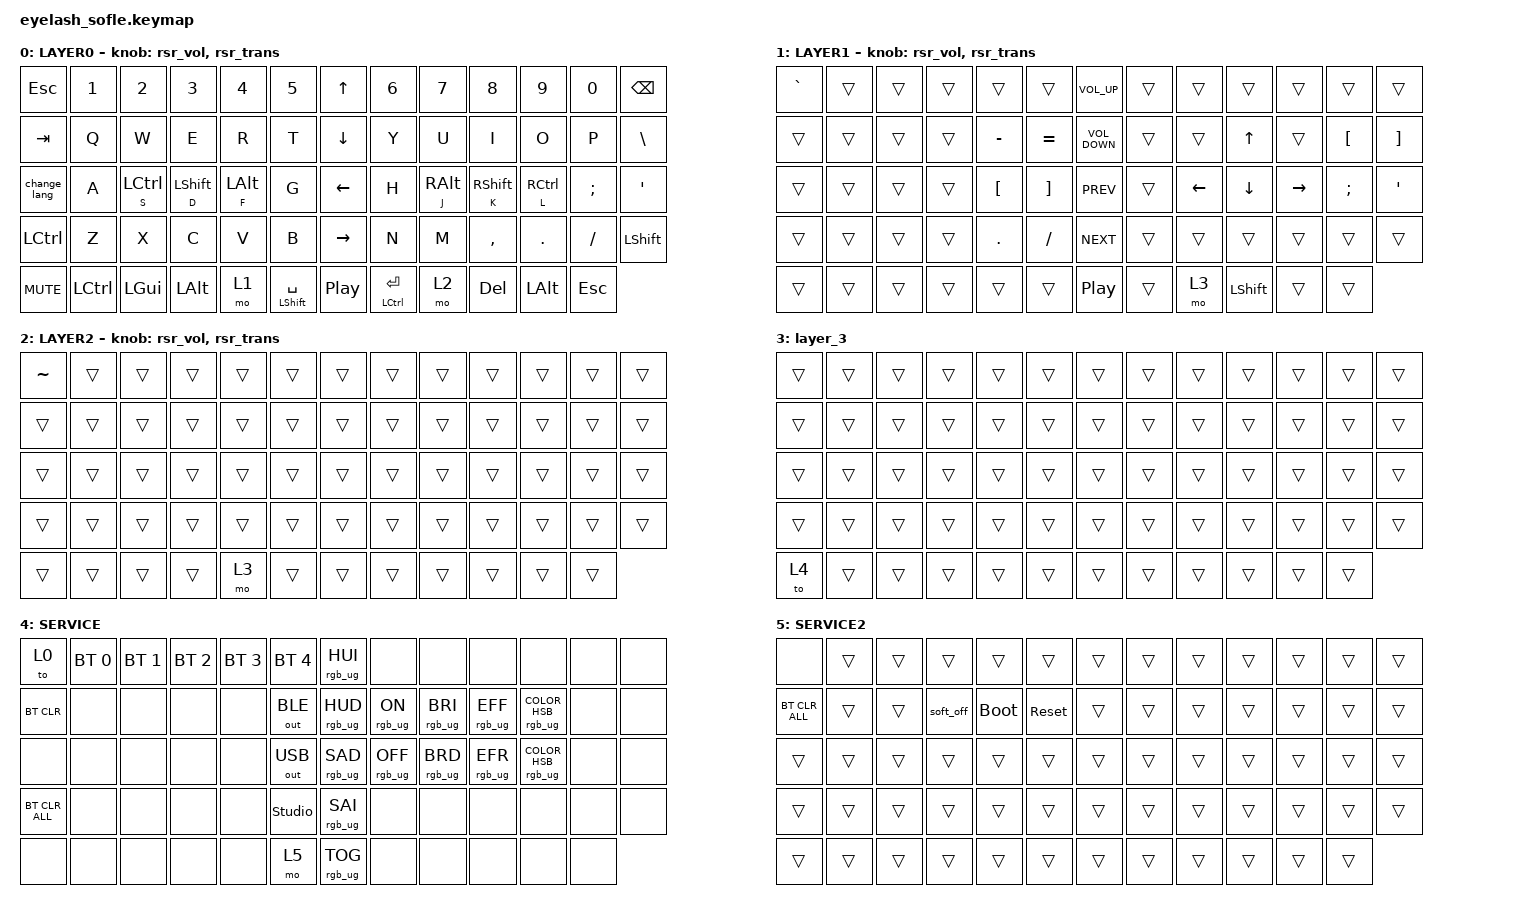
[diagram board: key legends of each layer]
#define ZMK_POINTING_DEFAULT_MOVE_VAL 1200  // 600
#define ZMK_POINTING_DEFAULT_SCRL_VAL 25   // 10

#include <input/processors.dtsi>
#include <zephyr/dt-bindings/input/input-event-codes.h>
#include <behaviors/runtime-sensor-rotate.dtsi>
#include <behaviors.dtsi>
#include <dt-bindings/zmk/bt.h>
#include <dt-bindings/zmk/keys.h>
#include <dt-bindings/zmk/outputs.h>
#include <dt-bindings/zmk/pointing.h>
#include <dt-bindings/zmk/rgb.h>

&mmv_input_listener { input-processors = <&zip_xy_scaler 2 1>; };

&msc_input_listener { input-processors = <&zip_scroll_scaler 2 1>; };

&msc {
    acceleration-exponent = <1>;      // 0
    time-to-max-speed-ms = <100>;       // 300
    delay-ms = <0>;                   // 0
};

&mmv {
    time-to-max-speed-ms = <500>;
    acceleration-exponent = <1>;
    trigger-period-ms = <16>;
};

&soft_off { hold-time-ms = <2000>; };

/ {
    scroll_encoder: scroll_encoder {
        compatible = "zmk,behavior-sensor-rotate";
        #sensor-binding-cells = <0>;
        bindings = <&msc SCRL_DOWN>, <&msc SCRL_UP>;

        tap-ms = <100>;
    };

    behaviors {
        rsr_vol: rsr_vol {
            compatible = "zmk,behavior-runtime-sensor-rotate";
            #sensor-binding-cells = <0>;
            tap-ms = <5>;
            cw-binding = <&kp C_VOL_UP>;
            ccw-binding = <&kp C_VOL_DN>;
        };

        rsr_trans: rsr_trans {
            compatible = "zmk,behavior-runtime-sensor-rotate";
            #sensor-binding-cells = <0>;
            tap-ms = <0>;
        };
    };

    combos {
        compatible = "zmk,combos";

        softoff {
            bindings = <&soft_off>;
            key-positions = <14 28 40>;
        };
    };

    macros {
        SHIFT_MCLK: SHIFT_MCLK {
            compatible = "zmk,behavior-macro";
            #binding-cells = <0>;
            bindings =
                <&macro_press>,
                <&kp LEFT_SHIFT>,
                <&macro_press>,
                <&mkp MB3>,
                <&macro_pause_for_release>,
                <&macro_release>,
                <&kp LEFT_SHIFT &mkp MB3>;

            label = "SHIFT_MCLK";
        };

        change_lang: change_layer {
            compatible = "zmk,behavior-macro";
            #binding-cells = <0>;
            bindings = <&kp LG(SPACE)>;
            label = "CHANGE_LAYER";
        };
    };

    keymap {
        compatible = "zmk,keymap";

        layer0 {
            bindings = <
&kp ESC       &kp N1     &kp N2        &kp N3            &kp N4          &kp N5                  &kp UP_ARROW      &kp N6           &kp N7           &kp N8             &kp N9        &kp N0      &kp BACKSPACE
&kp TAB       &kp Q      &kp W         &kp E             &kp R           &kp T                   &kp DOWN_ARROW    &kp Y            &kp U            &kp I              &kp O         &kp P       &kp BSLH
&change_lang  &kp A      &mt S LCTRL   &mt D LEFT_SHIFT  &mt F LEFT_ALT  &kp G                   &kp LEFT_ARROW    &kp H            &mt J RIGHT_ALT  &mt K RIGHT_SHIFT  &mt L RCTRL   &kp SEMI    &kp APOS
&kp LCTRL     &kp Z      &kp X         &kp C             &kp V           &kp B                   &kp RIGHT_ARROW   &kp N            &kp M            &kp COMMA          &kp DOT       &kp FSLH    &kp LEFT_SHIFT
&kp C_MUTE    &kp LCTRL  &kp LEFT_GUI  &kp LEFT_ALT      &mo 1           &mt LEFT_SHIFT SPACE    &kp C_PLAY_PAUSE  &mt LCTRL ENTER  &mo 2            &kp DELETE         &kp LEFT_ALT  &kp ESCAPE
            >;

            sensor-bindings = <&rsr_vol &rsr_trans>;
            display-name = "LAYER0";
        };

        layer_1 {
            bindings = <
&kp GRAVE  &trans  &trans  &trans  &trans            &trans               &kp C_VOLUME_UP    &trans  &trans    &trans          &trans     &trans            &trans
&trans     &trans  &trans  &trans  &kp MINUS         &kp EQUAL            &kp C_VOLUME_DOWN  &trans  &trans    &kp UP          &trans     &kp LEFT_BRACKET  &kp RIGHT_BRACKET
&trans     &trans  &trans  &trans  &kp LEFT_BRACKET  &kp RIGHT_BRACKET    &kp C_PREV         &trans  &kp LEFT  &kp DOWN        &kp RIGHT  &kp SEMICOLON     &kp SQT
&trans     &trans  &trans  &trans  &kp PERIOD        &kp SLASH            &kp C_NEXT         &trans  &trans    &trans          &trans     &trans            &trans
&trans     &trans  &trans  &trans  &trans            &trans               &kp C_PLAY_PAUSE   &trans  &mo 3     &kp LEFT_SHIFT  &trans     &trans
            >;

            sensor-bindings = <&rsr_vol &rsr_trans>;
            display-name = "LAYER1";
        };

        layer_2 {
            bindings = <
&kp TILDE  &trans  &trans  &trans  &trans  &trans    &trans  &trans  &trans  &trans  &trans  &trans  &trans
&trans     &trans  &trans  &trans  &trans  &trans    &trans  &trans  &trans  &trans  &trans  &trans  &trans
&trans     &trans  &trans  &trans  &trans  &trans    &trans  &trans  &trans  &trans  &trans  &trans  &trans
&trans     &trans  &trans  &trans  &trans  &trans    &trans  &trans  &trans  &trans  &trans  &trans  &trans
&trans     &trans  &trans  &trans  &mo 3   &trans    &trans  &trans  &trans  &trans  &trans  &trans
            >;

            display-name = "LAYER2";
            sensor-bindings = <&rsr_vol &rsr_trans>;
        };

        layer_3 {
            bindings = <
&trans  &trans  &trans  &trans  &trans  &trans    &trans  &trans  &trans  &trans  &trans  &trans  &trans
&trans  &trans  &trans  &trans  &trans  &trans    &trans  &trans  &trans  &trans  &trans  &trans  &trans
&trans  &trans  &trans  &trans  &trans  &trans    &trans  &trans  &trans  &trans  &trans  &trans  &trans
&trans  &trans  &trans  &trans  &trans  &trans    &trans  &trans  &trans  &trans  &trans  &trans  &trans
&to 4   &trans  &trans  &trans  &trans  &trans    &trans  &trans  &trans  &trans  &trans  &trans
            >;
        };

        service {
            bindings = <
&to 0           &bt BT_SEL 0  &bt BT_SEL 1  &bt BT_SEL 2  &bt BT_SEL 3  &bt BT_SEL 4      &rgb_ug RGB_HUI  &none            &none            &none            &none                              &none  &none
&bt BT_CLR      &none         &none         &none         &none         &out OUT_BLE      &rgb_ug RGB_HUD  &rgb_ug RGB_ON   &rgb_ug RGB_BRI  &rgb_ug RGB_EFF  &rgb_ug RGB_COLOR_HSB(184,100,50)  &none  &none
&none           &none         &none         &none         &none         &out OUT_USB      &rgb_ug RGB_SAD  &rgb_ug RGB_OFF  &rgb_ug RGB_BRD  &rgb_ug RGB_EFR  &rgb_ug RGB_COLOR_HSB(281,100,50)  &none  &none
&bt BT_CLR_ALL  &none         &none         &none         &none         &studio_unlock    &rgb_ug RGB_SAI  &none            &none            &none            &none                              &none  &none
&none           &none         &none         &none         &none         &mo 5             &rgb_ug RGB_TOG  &none            &none            &none            &none                              &none
            >;

            display-name = "SERVICE";
        };

        service2 {
            bindings = <
&none           &trans  &trans  &trans     &trans       &trans        &trans  &trans  &trans  &trans  &trans  &trans  &trans
&bt BT_CLR_ALL  &trans  &trans  &soft_off  &bootloader  &sys_reset    &trans  &trans  &trans  &trans  &trans  &trans  &trans
&trans          &trans  &trans  &trans     &trans       &trans        &trans  &trans  &trans  &trans  &trans  &trans  &trans
&trans          &trans  &trans  &trans     &trans       &trans        &trans  &trans  &trans  &trans  &trans  &trans  &trans
&trans          &trans  &trans  &trans     &trans       &trans        &trans  &trans  &trans  &trans  &trans  &trans
            >;

            display-name = "SERVICE2";
        };
    };
};
